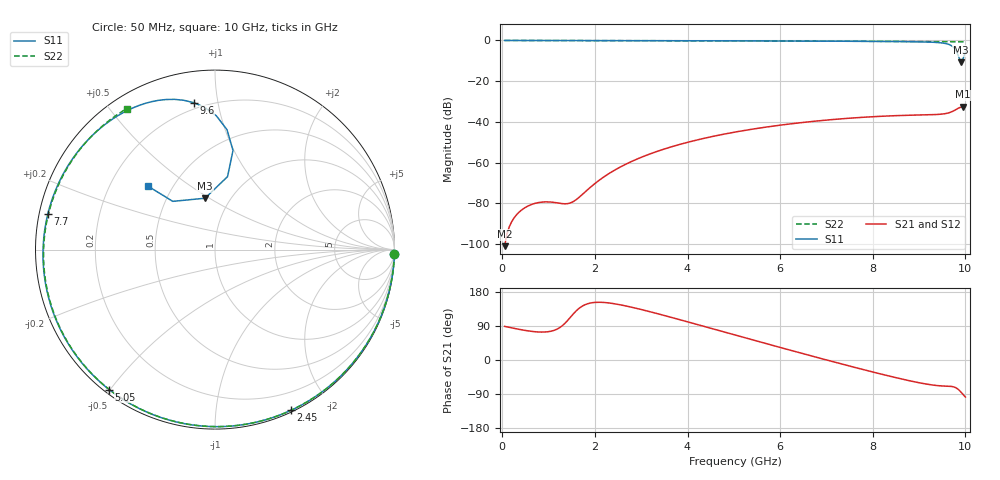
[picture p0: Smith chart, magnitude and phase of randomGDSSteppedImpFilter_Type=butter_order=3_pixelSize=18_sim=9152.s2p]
! freq	dB(S11)	phase(S11)	dB(S12)	phase(S12)
!  dB(S21)	phase(S21)	dB(S22)	phase(S22)
!S-par simulation data
#  GHz  S  DB  R 50
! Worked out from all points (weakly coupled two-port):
!   200 points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, 50 MHz to 10 GHz, reference 50 ohm
!   highest |S21| = -32.55 dB at 9.95 GHz (marker M1); lowest = -101.1 dB at 50 MHz (marker M2)
!   lowest |S11| = -10.7 dB at 9.9 GHz (marker M3), VSWR 1.82, Z = 38.2 + j23.9 ohm
!   |S11| at or under -10 dB: 9.888299 GHz to 9.920006 GHz (31.71 MHz wide, 0.32 % of centre)
!   |S22| runs from -0.7 to 0.0 dB; largest |S21 - S12| = 0
!   S11 on the Smith chart (normalised r, x): 50 MHz: 0, -84; 2.45 GHz: 0.02, -1.58; 5.05 GHz: 0.01, -0.50; 7.7 GHz: 0.02, +0.11; 9.6 GHz: 0.16, +0.85; 10 GHz: 0.36, +0.35
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0.05  -0.00 -1.4  -101.06 88.7  -101.06 88.7  -0.00 -1.3
0.75  -0.03 -20.3  -79.79 74.2  -79.79 74.2  -0.03 -19.2
1.45  -0.05 -38.9  -79.97 109.8  -79.97 109.8  -0.05 -36.9
1.75  -0.06 -46.7  -75.21 143.7  -75.21 143.7  -0.06 -44.3
2.1  -0.07 -55.8  -68.54 152.4  -68.54 152.4  -0.07 -52.9
2.45  -0.08 -64.7  -63.40 147.8  -63.40 147.8  -0.08 -61.3
3.4  -0.12 -88.1  -54.06 120.7  -54.06 120.7  -0.11 -83.5
4.2  -0.15 -107.2  -48.91 94.0  -48.91 94.0  -0.14 -101.4
5.05  -0.19 -127.1  -44.91 65.2  -44.91 65.2  -0.18 -120.0
5.9  -0.25 -147.0  -41.91 36.5  -41.91 36.5  -0.24 -138.3
6.7  -0.32 -166.3  -39.77 9.9  -39.77 9.9  -0.30 -155.7
7.7  -0.42 167.9  -37.87 -22.3  -37.87 -22.3  -0.39 -178.2
8.35  -0.52 149.4  -37.08 -42.2  -37.08 -42.2  -0.46 166.3
9.1  -0.73 124.1  -36.56 -62.3  -36.56 -62.3  -0.55 147.2
9.4  -1.02 110.8  -36.34 -67.6  -36.34 -67.6  -0.59 139.1
9.6  -1.65 98.2  -35.79 -69.0  -35.79 -69.0  -0.61 133.6
9.7  -2.56 89.4  -35.08 -69.8  -35.08 -69.8  -0.62 130.8
9.8  -5.01 79.7  -33.90 -73.6  -33.90 -73.6  -0.64 127.9
9.85  -7.69 80.2  -33.26 -77.9  -33.26 -77.9  -0.64 126.5
9.9  -10.71 101.0  -32.77 -84.0  -32.77 -84.0  -0.65 125.0
9.95  -8.94 131.2  -32.55 -91.0  -32.55 -91.0  -0.65 123.6
10  -5.75 136.6  -32.57 -97.8  -32.57 -97.8  -0.66 122.1
